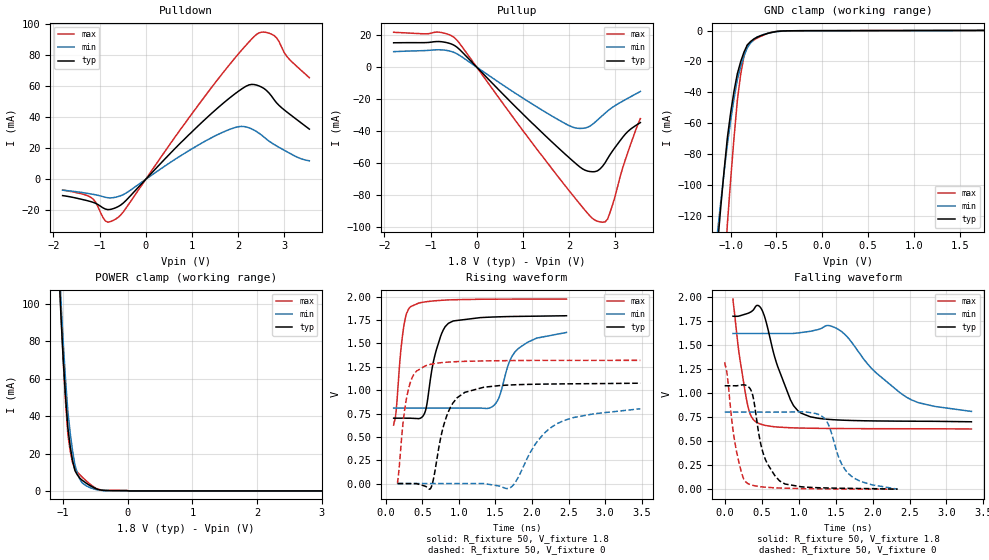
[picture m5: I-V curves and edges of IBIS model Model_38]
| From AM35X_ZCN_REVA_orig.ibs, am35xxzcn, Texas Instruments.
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| Model based on original model for BC1833DV40CTPBFZP18LL_7LM_X50
|   Sub model LL_7LM_X50_PD_ON_1P8
[model]   Model_38
|[Description]  1.8V-I/O-PD-X
|[Input Load]   PD
|[Output Drive]
|Voltage   1.8V
|Mode   I/O
Model_type   I/O
Polarity   Non-Inverting
Enable   Active-Low
Vinl =  0.63V
Vinh =  1.17V
Cref =  15pF
Rref =  100.0000M
Vref =  0V
Vmeas =  0.9
C_comp   2.232809p   2.073051p   2.295852p
[Model Spec]
Vinl   0.63V   0.567V   0.693V
Vinh   1.17V   1.053V   1.287V
[Temperature Range]   25   125   -40
[Voltage Range]   1.8   1.62   1.98
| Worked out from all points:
|   slope of the pulldown table from 0 to 0.27 V, typ, clamps not added: 31.4 ohm
|   slope of the pullup table from 0 to 0.27 V, typ, clamps not added: 33.4 ohm
|   GND clamp passes 1 mA (typ) near -0.54 V on its own axis
|   POWER clamp passes 1 mA (typ) near -0.48 V on its own axis
|   rising waveform, R_fixture 50, V_fixture 1.8: 20-80 % time 174ps typ, 261ps min, 96.7ps max; typ from 0.7 V to 1.8 V
|   rising waveform, R_fixture 50, V_fixture 0: 20-80 % time 226ps typ, 474ps min, 132ps max; typ from 0 V to 1.07 V
|   falling waveform, R_fixture 50, V_fixture 1.8: 20-80 % time 285ps typ, 648ps min, 154ps max; typ from 1.8 V to 0.7 V
|   falling waveform, R_fixture 50, V_fixture 0: 20-80 % time 210ps typ, 258ps min, 143ps max; typ from 1.07 V to 0 V
[POWER_clamp]
-1.8V     842.4mA    869.3mA    912.9mA
-1.073V   123.7mA    130.9mA    129.1mA
-1.036V   94.83mA    102.9mA    96.56mA
-1V       70.85mA    79.7mA     69.66mA
-963.6mV  50.44mA    59.51mA    47.46mA
-927.3mV  33.63mA    42.34mA    29.99mA
-890.9mV  23.71mA    30.8mA     21.26mA
-818.2mV  10.87mA    13.88mA    11.68mA
-781.8mV  8.623mA    9.578mA    10.15mA
-636.4mV  3.988mA    2.612mA    5.172mA
-345.5mV  234.4uA    145uA      345.5uA
3.6V      0A         0A         0A
[Pulldown]
-1.8V     -10.49mA   -6.992mA   -6.878mA
-1.145V   -14.77mA   -9.642mA   -12.54mA
-872.7mV  -19.17mA   -11.58mA   -26.88mA
-600mV    -17.64mA   -11.15mA   -24.61mA
1.636V    48.04mA    29.95mA    67.37mA
2.073V    58.21mA    34.18mA    83.2mA
2.291V    61.28mA    32.65mA    90.41mA
2.455V    60.33mA    29.78mA    94.55mA
2.618V    57.37mA    25.94mA    94.82mA
2.782V    51.43mA    22.55mA    92.84mA
3.055V    43.59mA    17.92mA    79.47mA
3.545V    32.43mA    11.97mA    65.61mA
[Pullup]
-1.8V     15.27mA    9.71mA     21.85mA
-818.2mV  16.05mA    10.88mA    21.94mA
-490.9mV  13.72mA    9.222mA    18.66mA
1.036V    -30.46mA   -20.11mA   -41.15mA
2.018V    -57.22mA   -36.91mA   -78.08mA
2.345V    -64.63mA   -38.19mA   -89.73mA
2.618V    -65.01mA   -33.11mA   -96.69mA
2.782V    -59.96mA   -28.87mA   -97.07mA
2.836V    -57.31mA   -27.51mA   -95.25mA
3V        -50.25mA   -24.09mA   -80.86mA
3.218V    -42.03mA   -20.43mA   -58.16mA
3.545V    -34.78mA   -15.26mA   -32.29mA
[GND_clamp]
-1.8V     -697.8mA   -553.2mA   -1.259A
-1.145V   -140.7mA   -131.7mA   -248.3mA
-1.109V   -115.1mA   -111.6mA   -203.3mA
-1.036V   -69.61mA   -74.07mA   -125.9mA
-1V       -53.17mA   -58.25mA   -96.53mA
-927.3mV  -27.97mA   -31.86mA   -45.36mA
-890.9mV  -20.15mA   -23.34mA   -28.44mA
-854.5mV  -13.89mA   -16.39mA   -16.54mA
-818.2mV  -9.198mA   -11.01mA   -9.648mA
-709.1mV  -4.172mA   -4.037mA   -4.792mA
-418.2mV  -167.1uA   -231.6uA   -161.9uA
1.764V    148.6uA    81.79uA    236.4uA
[Ramp]
dV/dt_f 0.72468238/0.29692966n 0.53520674/0.67524213n 0.88626571/0.1616922n
dV/dt_r 0.68108193/0.22655821n 0.51281713/0.47420792n   0.811647/0.13205393n
R_load = 50
[Rising Waveform]
R_fixture = 50
V_fixture = 1.8
V_fixture_min = 1.62
V_fixture_max = 1.98
106.9ps   700.4mV    808.1mV    625.4mV
141.9ps   700.4mV    808.1mV    785.2mV
235.1ps   700.4mV    808.1mV    1.628V
336.6ps   699.8mV    808.1mV    1.894V
531.1ps   754.7mV    808.1mV    1.945V
670.9ps   1.373V     808.1mV    1.957V
856.2ps   1.716V     808.1mV    1.966V
1.456ns   1.783V     822.9mV    1.974V
1.786ns   1.79V      1.426V     1.975V
2.472ns   1.797V     1.618V     1.976V
[Rising Waveform]
R_fixture = 50
V_fixture = 0
V_fixture_min = 0
V_fixture_max = 0
160.7ps   9.392nV    101.9nV    8.897nV
239.1ps   17.36uV    2.937uV    675.7mV
305.8ps   -452.6uV   1.763uV    999.1mV
541.5ps   -28.81mV   -567.7nV   1.26V
628.4ps   -23.01mV   73.3nV     1.279V
856ps     770.1mV    -2.024uV   1.301V
1.082ns   977.1mV    -290.6uV   1.309V
1.693ns   1.055V     -48.04mV   1.317V
2.279ns   1.066V     610.1mV    1.319V
3.483ns   1.075V     800.7mV    1.319V
[Falling Waveform]
R_fixture = 50
V_fixture = 1.8
V_fixture_min = 1.62
V_fixture_max = 1.98
112.7ps   1.797V     1.618V     1.976V
192.7ps   1.799V     1.618V     1.422V
303ps     1.824V     1.618V     902.2mV
441.6ps   1.91V      1.618V     690.9mV
533.4ps   1.807V     1.618V     665.6mV
889.6ps   928.1mV    1.618V     638.2mV
1.034ns   789.6mV    1.628V     635.1mV
1.502ns   720.4mV    1.675V     630.3mV
2.458ns   706.5mV    956.3mV    627.9mV
3.337ns   700.4mV    808.1mV    625.4mV
[Falling Waveform]
R_fixture = 50
V_fixture = 0
V_fixture_min = 0
V_fixture_max = 0
0s        1.075V     800.7mV    1.319V
158.7ps   1.074V     800.7mV    396.8mV
246.5ps   1.084V     800.7mV    126.6mV
308ps     1.072V     800.7mV    60.84mV
379.6ps   973.7mV    800.7mV    39.83mV
535.9ps   337.7mV    800.7mV    21.17mV
742.7ps   85.77mV    800.7mV    11.88mV
1.327ns   13.68mV    751.2mV    2.649mV
1.665ns   8.959mV    169mV      994.9uV
2.338ns   9.392nV    101.9nV    8.897nV
